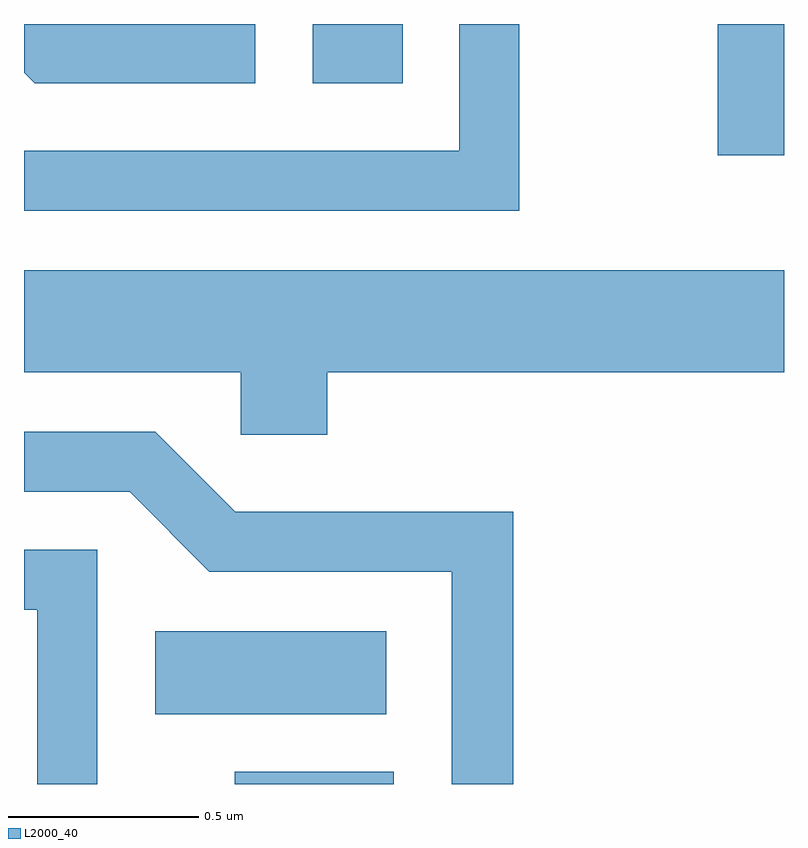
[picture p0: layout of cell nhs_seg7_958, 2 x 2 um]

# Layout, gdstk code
import gdstk
lib = gdstk.Library(unit=1e-6, precision=1e-09)
def R(c, l, rs):  # rectangles x0, y0, x1, y1
    for r in rs: c.add(gdstk.rectangle(r[:2], r[2:], *l))
def P(c, l, *ps):  # polygons
    for p in ps: c.add(gdstk.Polygon(p, *l))
L2000_40 = (2000, 40)

nhs_seg7_958 = lib.new_cell('nhs_seg7_958')
R(nhs_seg7_958, L2000_40, [(192.166,1804.252,192.584,1804.284), (191.956,1804.436,192.564,1804.654), (193.436,1805.906,193.611,1806.252), (192.371,1806.096,192.608,1806.252)])
P(nhs_seg7_958, L2000_40, [(192.219,1806.252),(191.611,1806.252),(191.611,1806.124),(191.639,1806.096),(192.219,1806.096)],
  [(192.914,1806.252),(192.756,1806.252),(192.756,1805.919),(191.611,1805.919),(191.611,1805.761),(192.914,1805.761)],
  [(192.409,1805.336),(193.611,1805.336),(193.611,1805.604),(191.611,1805.604),(191.611,1805.336),(192.181,1805.336),(192.181,1805.171),(192.409,1805.171)],
  [(192.899,1804.969),(192.167,1804.969),(191.957,1805.179),(191.611,1805.179),(191.611,1805.021),(191.889,1805.021),(192.099,1804.811),(192.736,1804.811),(192.736,1804.252),(192.899,1804.252)],
  [(191.804,1804.869),(191.611,1804.869),(191.611,1804.711),(191.646,1804.711),(191.646,1804.252),(191.804,1804.252)])

lib.write_gds('nhs_seg7_958.gds')
